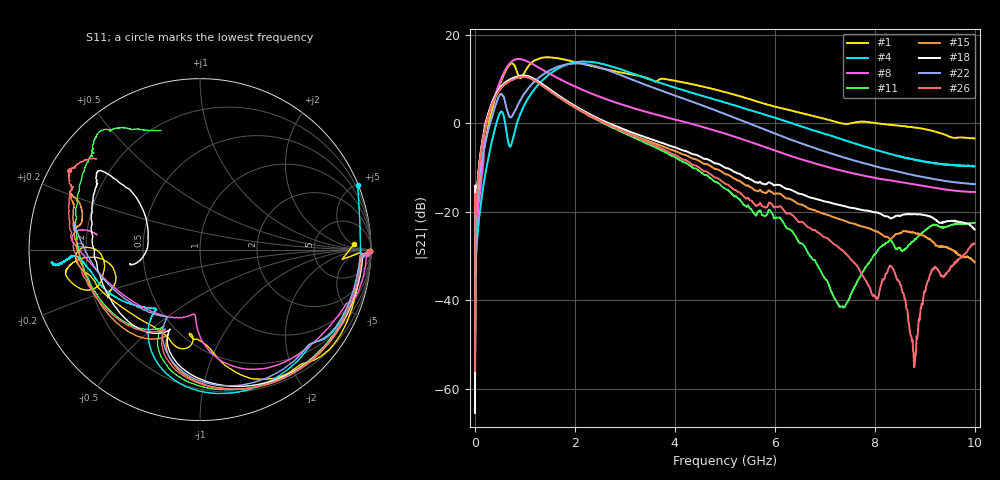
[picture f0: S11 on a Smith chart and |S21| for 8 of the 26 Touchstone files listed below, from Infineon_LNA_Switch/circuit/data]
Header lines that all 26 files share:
!Data & Calibration Information:
!Freq	S11:SOLT2(ON)	S21:SOLT2(ON)	S12:SOLT2(ON)	S22:SOLT2(ON)
!PortZ  Port1:50+j0  Port2:50+j0
!Above PortZ is port z conversion or system Z0 setting when saving the data.
!When reading, reference impedance value at option line is always used.
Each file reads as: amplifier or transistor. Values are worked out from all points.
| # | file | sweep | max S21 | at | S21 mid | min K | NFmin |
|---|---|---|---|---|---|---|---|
| 1 | BGM13HBA9_RX3_2P8V_HG.S2P | 300 kHz to 10 GHz | 14.9 dB | 1.46 GHz | 7.0 dB at 5 GHz | 0.82 | 0.74 dB |
| 2 | BGM15HA12_RX1_AO_2p8V.S2P | 300 kHz to 10 GHz | 14.0 dB | 2.163 GHz | 4.9 dB at 5 GHz | -12.85 | 0.99 dB |
| 3 | BGM15HA12_RX3_AO_2p8V.S2P | 10 MHz to 10.01 GHz | 13.9 dB | 2.21 GHz | 4.9 dB at 5.01 GHz | -0.93 | 0.98 dB |
| 4 | BGM15HA12_RX4_AO_2p8V.S2P | 300 kHz to 10 GHz | 14.0 dB | 2.163 GHz | 4.7 dB at 5 GHz | -3.45 | 1.00 dB |
| 5 | BGM15HA12_RX5_AO_2p8V.S2P | 300 kHz to 10 GHz | 14.1 dB | 2.169 GHz | 5.1 dB at 5 GHz | -18.78 | 1.00 dB |
| 6 | BGM15LA12_RX1_AO_2p8V.S2P | 10 MHz to 10.01 GHz | 14.4 dB | 890 MHz | -2.5 dB at 5.01 GHz | 1.22 | 0.90 dB |
| 7 | BGM15LA12_RX2_AO_2p8V.S2P | 10 MHz to 10.01 GHz | 14.5 dB | 870 MHz | -2.4 dB at 5.01 GHz | 1.20 | 0.90 dB |
| 8 | BGM15LA12_RX3_AO_2p8V.S2P | 10 MHz to 10.01 GHz | 14.5 dB | 870 MHz | -2.4 dB at 5.01 GHz | 1.21 | 0.96 dB |
| 9 | BGM15LA12_RX4_AO_2p8V.S2P | 10 MHz to 10.01 GHz | 14.4 dB | 870 MHz | -2.7 dB at 5.01 GHz | 1.21 | 0.93 dB |
| 10 | BGM15LA12_RX5_AO_2p8V.S2P | 10 MHz to 10.01 GHz | 14.5 dB | 870 MHz | -2.7 dB at 5.01 GHz | 1.21 | 0.94 dB |
| 11 | BGM15LBA12_RX1_1P8V_HG.S2P | 300 kHz to 10 GHz | 10.7 dB | 970.3 MHz | -14.7 dB at 5 GHz | 1.13 | 1.06 dB |
| 12 | BGM15LBA12_RX1_2P8V_HG.S2P | 300 kHz to 10 GHz | 11.0 dB | 970.3 MHz | -14.6 dB at 5 GHz | 1.15 | 1.07 dB |
| 13 | BGM15LBA12_RX2_1P8V_HG.S2P | 300 kHz to 10 GHz | 10.4 dB | 970.3 MHz | -12.6 dB at 5 GHz | 1.22 | 1.08 dB |
| 14 | BGM15LBA12_RX2_2P8V_HG.S2P | 300 kHz to 10 GHz | 10.7 dB | 970.3 MHz | -12.5 dB at 5 GHz | 1.24 | 1.09 dB |
| 15 | BGM15LBA12_RX3_1P8V_HG.S2P | 300 kHz to 10 GHz | 10.5 dB | 970.3 MHz | -11.4 dB at 5 GHz | 1.24 | 1.05 dB |
| 16 | BGM15LBA12_RX3_2P8V_HG.S2P | 300 kHz to 10 GHz | 10.8 dB | 970.3 MHz | -11.3 dB at 5 GHz | 1.26 | 1.07 dB |
| 17 | BGM15LBA12_RX4_1P8V_HG.S2P | 300 kHz to 10 GHz | 10.5 dB | 970.3 MHz | -10.1 dB at 5 GHz | 1.28 | 1.05 dB |
| 18 | BGM15LBA12_RX4_2P8V_HG.S2P | 300 kHz to 10 GHz | 10.8 dB | 970.3 MHz | -10.0 dB at 5 GHz | 1.31 | 1.06 dB |
| 19 | BGM15MA12_RX1_AO_2p8V.S2P | 10 MHz to 10.01 GHz | 13.6 dB | 2.09 GHz | 2.1 dB at 5.01 GHz | 1.33 | 1.00 dB |
| 20 | BGM15MA12_RX2_AO_2p8V.S2P | 10 MHz to 10.01 GHz | 13.5 dB | 2.04 GHz | 2.2 dB at 5.01 GHz | 1.31 | 0.99 dB |
| 21 | BGM15MA12_RX3_AO_2p8V.S2P | 10 MHz to 10.01 GHz | 13.4 dB | 2.02 GHz | 2.0 dB at 5.01 GHz | 1.32 | 0.98 dB |
| 22 | BGM15MA12_RX4_AO_2p8V.S2P | 10 MHz to 10.01 GHz | 13.5 dB | 2.04 GHz | 2.1 dB at 5.01 GHz | 1.31 | 0.99 dB |
| 23 | BGM15MA12_RX5_AO_2p8V.S2P | 10 MHz to 10.01 GHz | 13.7 dB | 2.03 GHz | 2.2 dB at 5.01 GHz | 1.31 | 1.01 dB |
| 24 | BGM17LBA12_RX1_1P8_HG.S2P | 300 kHz to 10 GHz | 10.4 dB | 970.3 MHz | -15.2 dB at 5 GHz | 1.13 | 1.06 dB |
| 25 | BGM17LBA12_RX1_2P8_HG.S2P | 300 kHz to 10 GHz | 10.7 dB | 970.3 MHz | -15.1 dB at 5 GHz | 1.15 | 1.08 dB |
| 26 | BGM17LBA12_RX2_1P8_HG.S2P | 300 kHz to 10 GHz | 10.5 dB | 970.3 MHz | -13.6 dB at 5 GHz | 1.20 | 1.07 dB |
